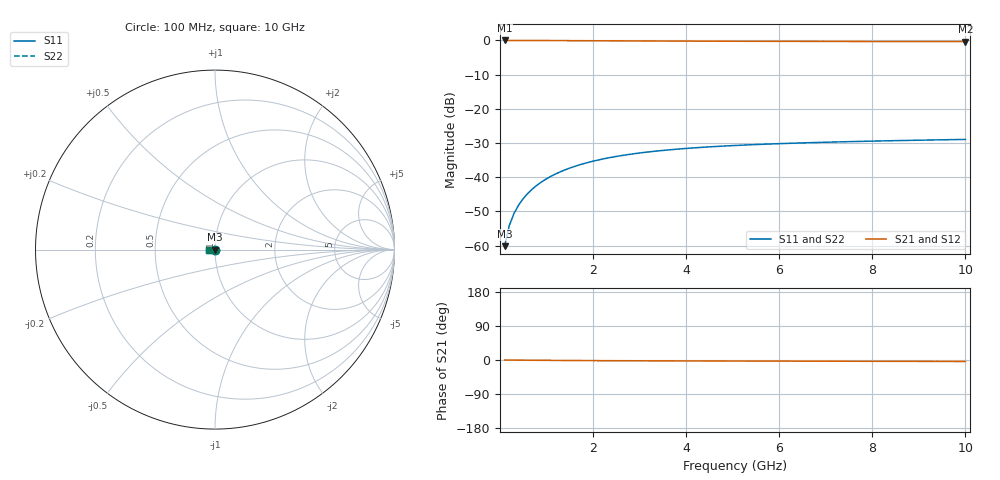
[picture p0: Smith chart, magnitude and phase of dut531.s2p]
! Touchstone file exported from HFSS 2024.1.0
!  File:  C:/UserFiles/LocalFiles/RDL_TSV_Batchsim/temp_TSV1_531_1779704423.aedt
!  Generated:  06:25:59 PM May 25, 2026
!  Design:  TSV1
!  Project:  temp_TSV1_531_1779704423
!  Setup:  Setup1
!  Solution:  Sweep
! Variables:
!  dtsv = 11.01um
!  hbump = 3um
!  htsv = 58.2um
!  lrdl = 252.1521522um
!  p = 40
!  p1 = 50.1um
!  t = 500um
!  trdl = 3um
!  wrdl = 24.89489489um
# GHz S MA R 50.000000
! Terminal data exported
! Port[1] = TSV22_T1
! Port[2] = TSV22_T2
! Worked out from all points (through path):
!   100 points, 100 MHz to 10 GHz, reference 50 ohm
!   highest |S21| = 0.00 dB at 100 MHz (marker M1); lowest = -0.3 dB at 10 GHz (marker M2)
!   lowest |S11| = -60.2 dB at 100 MHz (marker M3), VSWR 1.00, Z = 50 - j0.0979 ohm
!   |S11| at or under -10 dB: start of sweep to end of sweep
!   |S22| runs from -60.2 to -28.9 dB; largest |S21 - S12| = 9.2e-15
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0.1  0.0009811 -86.0  0.9999 -0.1  0.9999 -0.1  0.0009811 -86.0
! Gamma 0 0 0 0
! Port Impedance 50 0 50 0
0.2  0.001956 -90.5  0.9998 -0.2  0.9998 -0.2  0.001956 -90.5
0.3  0.002931 -93.2  0.9996 -0.3  0.9996 -0.3  0.002931 -93.2
0.4  0.003903 -95.5  0.9994 -0.4  0.9994 -0.4  0.003903 -95.5
0.5  0.004867 -97.6  0.9991 -0.5  0.9991 -0.5  0.004867 -97.6
0.6  0.005821 -99.6  0.9987 -0.6  0.9987 -0.6  0.005821 -99.6
0.7  0.006761 -101.5  0.9983 -0.7  0.9983 -0.7  0.006761 -101.5
0.8  0.007686 -103.4  0.9979 -0.7  0.9979 -0.7  0.007686 -103.4
0.9  0.008593 -105.2  0.9974 -0.8  0.9974 -0.8  0.008593 -105.2
1.1  0.01035 -108.8  0.9963 -1.0  0.9963 -1.0  0.01035 -108.8
1.4  0.01283 -113.8  0.9945 -1.2  0.9945 -1.2  0.01283 -113.8
1.6  0.01436 -117.0  0.9931 -1.4  0.9931 -1.4  0.01436 -117.0
1.8  0.01581 -120.0  0.9918 -1.5  0.9918 -1.5  0.01581 -120.0
2.1  0.01779 -124.4  0.9896 -1.7  0.9896 -1.7  0.01779 -124.4
2.5  0.02013 -129.6  0.9868 -1.9  0.9868 -1.9  0.02013 -129.6
2.9  0.02214 -134.5  0.9842 -2.0  0.9842 -2.0  0.02214 -134.5
3.4  0.02427 -139.8  0.9811 -2.2  0.9811 -2.2  0.02427 -139.8
4.2  0.02695 -147.3  0.9769 -2.5  0.9769 -2.5  0.02695 -147.3
5.1  0.02922 -154.3  0.9732 -2.7  0.9732 -2.7  0.02922 -154.3
6.7  0.03206 -164.2  0.9684 -3.1  0.9684 -3.1  0.03206 -164.2
8.4  0.03415 -172.6  0.9651 -3.5  0.9651 -3.5  0.03415 -172.6
10  0.0357 -179.2  0.963 -3.9  0.963 -3.9  0.0357 -179.2
